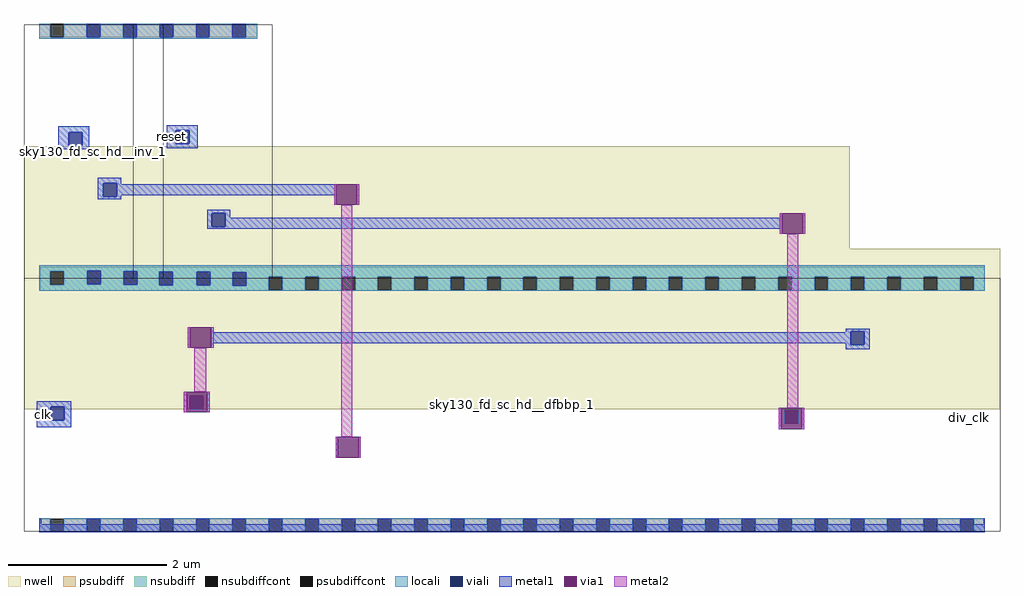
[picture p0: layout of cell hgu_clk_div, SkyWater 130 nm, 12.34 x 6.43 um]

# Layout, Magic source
magic
tech sky130A
magscale 1 2
<< nwell >>
rect -38 1266 2050 1525
rect -38 860 2430 1266
<< psubdiff >>
rect 0 1801 29 1835
rect 63 1801 121 1835
rect 155 1801 213 1835
rect 247 1801 305 1835
rect 339 1801 397 1835
rect 431 1801 489 1835
rect 523 1801 552 1835
rect 0 549 29 583
rect 63 549 121 583
rect 155 549 213 583
rect 247 549 305 583
rect 339 549 397 583
rect 431 549 489 583
rect 523 549 581 583
rect 615 549 673 583
rect 707 549 765 583
rect 799 549 857 583
rect 891 549 949 583
rect 983 549 1041 583
rect 1075 549 1133 583
rect 1167 549 1225 583
rect 1259 549 1317 583
rect 1351 549 1409 583
rect 1443 549 1501 583
rect 1535 549 1593 583
rect 1627 549 1685 583
rect 1719 549 1777 583
rect 1811 549 1869 583
rect 1903 549 1961 583
rect 1995 549 2053 583
rect 2087 549 2145 583
rect 2179 549 2237 583
rect 2271 549 2329 583
rect 2363 549 2392 583
<< nsubdiff >>
rect 3 1210 2392 1220
rect 3 1209 122 1210
rect 3 1175 29 1209
rect 63 1176 122 1209
rect 156 1209 2392 1210
rect 156 1176 214 1209
rect 63 1175 214 1176
rect 248 1208 2392 1209
rect 248 1175 304 1208
rect 3 1174 304 1175
rect 338 1174 399 1208
rect 433 1207 2392 1208
rect 433 1174 490 1207
rect 3 1173 490 1174
rect 524 1195 2392 1207
rect 524 1173 581 1195
rect 3 1161 581 1173
rect 615 1161 673 1195
rect 707 1161 765 1195
rect 799 1161 857 1195
rect 891 1161 949 1195
rect 983 1161 1041 1195
rect 1075 1161 1133 1195
rect 1167 1161 1225 1195
rect 1259 1161 1317 1195
rect 1351 1161 1409 1195
rect 1443 1161 1501 1195
rect 1535 1161 1593 1195
rect 1627 1161 1685 1195
rect 1719 1161 1777 1195
rect 1811 1161 1869 1195
rect 1903 1161 1961 1195
rect 1995 1161 2053 1195
rect 2087 1161 2145 1195
rect 2179 1161 2237 1195
rect 2271 1161 2329 1195
rect 2363 1161 2392 1195
rect 3 1160 2392 1161
<< psubdiffcont >>
rect 29 1801 63 1835
rect 121 1801 155 1835
rect 213 1801 247 1835
rect 305 1801 339 1835
rect 397 1801 431 1835
rect 489 1801 523 1835
rect 29 549 63 583
rect 121 549 155 583
rect 213 549 247 583
rect 305 549 339 583
rect 397 549 431 583
rect 489 549 523 583
rect 581 549 615 583
rect 673 549 707 583
rect 765 549 799 583
rect 857 549 891 583
rect 949 549 983 583
rect 1041 549 1075 583
rect 1133 549 1167 583
rect 1225 549 1259 583
rect 1317 549 1351 583
rect 1409 549 1443 583
rect 1501 549 1535 583
rect 1593 549 1627 583
rect 1685 549 1719 583
rect 1777 549 1811 583
rect 1869 549 1903 583
rect 1961 549 1995 583
rect 2053 549 2087 583
rect 2145 549 2179 583
rect 2237 549 2271 583
rect 2329 549 2363 583
<< nsubdiffcont >>
rect 29 1175 63 1209
rect 122 1176 156 1210
rect 214 1175 248 1209
rect 304 1174 338 1208
rect 399 1174 433 1208
rect 490 1173 524 1207
rect 581 1161 615 1195
rect 673 1161 707 1195
rect 765 1161 799 1195
rect 857 1161 891 1195
rect 949 1161 983 1195
rect 1041 1161 1075 1195
rect 1133 1161 1167 1195
rect 1225 1161 1259 1195
rect 1317 1161 1351 1195
rect 1409 1161 1443 1195
rect 1501 1161 1535 1195
rect 1593 1161 1627 1195
rect 1685 1161 1719 1195
rect 1777 1161 1811 1195
rect 1869 1161 1903 1195
rect 1961 1161 1995 1195
rect 2053 1161 2087 1195
rect 2145 1161 2179 1195
rect 2237 1161 2271 1195
rect 2329 1161 2363 1195
<< locali >>
rect 0 1801 29 1835
rect 63 1801 121 1835
rect 155 1801 213 1835
rect 247 1801 305 1835
rect 339 1801 397 1835
rect 431 1801 489 1835
rect 523 1801 552 1835
rect 0 1797 552 1801
rect 1 1210 2392 1224
rect 1 1209 122 1210
rect 1 1175 29 1209
rect 63 1176 122 1209
rect 156 1209 2392 1210
rect 156 1176 214 1209
rect 63 1175 214 1176
rect 248 1208 2392 1209
rect 248 1175 304 1208
rect 1 1174 304 1175
rect 338 1174 399 1208
rect 433 1207 2392 1208
rect 433 1174 490 1207
rect 1 1173 490 1174
rect 524 1195 2392 1207
rect 524 1173 581 1195
rect 1 1161 581 1173
rect 615 1161 673 1195
rect 707 1161 765 1195
rect 799 1161 857 1195
rect 891 1161 949 1195
rect 983 1161 1041 1195
rect 1075 1161 1133 1195
rect 1167 1161 1225 1195
rect 1259 1161 1317 1195
rect 1351 1161 1409 1195
rect 1443 1161 1501 1195
rect 1535 1161 1593 1195
rect 1627 1161 1685 1195
rect 1719 1161 1777 1195
rect 1811 1161 1869 1195
rect 1903 1161 1961 1195
rect 1995 1161 2053 1195
rect 2087 1161 2145 1195
rect 2179 1161 2237 1195
rect 2271 1161 2329 1195
rect 2363 1161 2392 1195
rect 1 1160 2392 1161
rect 0 549 29 584
rect 63 583 2392 584
rect 63 549 121 583
rect 155 549 213 583
rect 247 549 305 583
rect 339 549 397 583
rect 431 549 489 583
rect 523 549 581 583
rect 615 549 673 583
rect 707 549 765 583
rect 799 549 857 583
rect 891 549 949 583
rect 983 549 1041 583
rect 1075 549 1133 583
rect 1167 549 1225 583
rect 1259 549 1317 583
rect 1351 549 1409 583
rect 1443 549 1501 583
rect 1535 549 1593 583
rect 1627 549 1685 583
rect 1719 549 1777 583
rect 1811 549 1869 583
rect 1903 549 1961 583
rect 1995 549 2053 583
rect 2087 549 2145 583
rect 2179 549 2237 583
rect 2271 549 2329 583
rect 2363 549 2392 583
<< viali >>
rect 75 1527 109 1561
rect 346 1532 380 1566
rect 162 1398 196 1432
rect 437 1322 471 1356
rect 2053 1023 2087 1057
rect 30 832 64 866
rect 381 860 415 894
rect 1886 824 1920 858
<< metal1 >>
rect 121 1801 155 1835
rect 213 1801 247 1835
rect 305 1801 339 1835
rect 397 1801 431 1835
rect 489 1801 523 1835
rect 49 1561 127 1576
rect 49 1527 75 1561
rect 109 1527 127 1561
rect 49 1518 127 1527
rect 323 1566 401 1578
rect 323 1532 346 1566
rect 380 1532 401 1566
rect 323 1520 401 1532
rect 148 1432 208 1446
rect 148 1398 162 1432
rect 196 1429 208 1432
rect 196 1401 752 1429
rect 196 1398 208 1401
rect 148 1391 208 1398
rect 746 1377 752 1401
rect 804 1377 810 1429
rect 425 1356 484 1364
rect 425 1322 437 1356
rect 471 1344 484 1356
rect 1873 1344 1879 1356
rect 471 1322 1879 1344
rect 425 1316 1879 1322
rect 1873 1304 1879 1316
rect 1931 1304 1937 1356
rect 122 1176 156 1210
rect 214 1175 248 1209
rect 304 1174 338 1208
rect 399 1174 433 1208
rect 490 1173 524 1207
rect 376 1016 382 1068
rect 435 1055 442 1068
rect 2040 1057 2101 1064
rect 2040 1055 2053 1057
rect 435 1027 2053 1055
rect 435 1016 442 1027
rect 2040 1023 2053 1027
rect 2087 1023 2101 1057
rect 2040 1012 2101 1023
rect -6 866 82 880
rect -6 832 30 866
rect 64 832 82 866
rect 366 852 374 904
rect 426 852 432 904
rect 1871 863 1935 864
rect -6 815 82 832
rect 1871 810 1877 863
rect 1929 810 1935 863
rect 750 738 756 790
rect 808 738 814 790
rect 750 737 814 738
rect 0 569 5 583
rect 121 569 155 583
rect 213 569 247 583
rect 305 569 339 583
rect 397 569 431 583
rect 489 569 523 583
rect 581 569 615 583
rect 673 569 707 583
rect 765 569 799 583
rect 857 569 891 583
rect 949 569 983 583
rect 1041 569 1075 583
rect 1133 569 1167 583
rect 1225 569 1259 583
rect 1317 569 1351 583
rect 1409 569 1443 583
rect 1501 569 1535 583
rect 1593 569 1627 583
rect 1685 569 1719 583
rect 1777 569 1811 583
rect 1869 569 1903 583
rect 1961 569 1995 583
rect 2053 569 2087 583
rect 2145 569 2179 583
rect 2237 569 2271 583
rect 2329 569 2363 583
rect 2389 569 2392 583
rect 0 549 2392 569
<< via1 >>
rect 752 1377 804 1429
rect 1879 1304 1931 1356
rect 382 1016 435 1068
rect 374 894 426 904
rect 374 860 381 894
rect 381 860 415 894
rect 415 860 426 894
rect 374 852 426 860
rect 1877 858 1929 863
rect 1877 824 1886 858
rect 1886 824 1920 858
rect 1920 824 1929 858
rect 1877 810 1929 824
rect 756 738 808 790
<< metal2 >>
rect 746 1377 752 1429
rect 804 1377 810 1429
rect 376 1016 382 1068
rect 435 1016 442 1068
rect 392 904 423 1016
rect 366 852 374 904
rect 426 852 432 904
rect 764 790 792 1377
rect 1873 1304 1879 1356
rect 1931 1304 1937 1356
rect 1892 864 1920 1304
rect 1871 863 1935 864
rect 1871 810 1877 863
rect 1929 810 1935 863
rect 750 738 756 790
rect 808 738 814 790
rect 750 737 814 738
use sky130_fd_sc_hd__dfbbp_1  x2 $PDKPATH/libs.ref/sky130_fd_sc_hd/mag
transform 1 0 0 0 1 600
box -38 -48 2430 592
use sky130_fd_sc_hd__inv_1  x3 $PDKPATH/libs.ref/sky130_fd_sc_hd/mag
transform 1 0 0 0 -1 1784
box -38 -48 314 592
use sky130_fd_sc_hd__inv_1  x4
transform 1 0 276 0 -1 1784
box -38 -48 314 592
<< labels >>
flabel metal1 49 1518 75 1576 0 FreeSans 320 0 0 0 set
port 1 nsew
flabel metal1 323 1520 346 1578 0 FreeSans 320 0 0 0 reset
port 2 nsew
flabel metal1 -6 815 30 880 0 FreeSans 320 0 0 0 clk
port 3 nsew
flabel space 2332 729 2375 947 0 FreeSans 320 0 0 0 div_clk
port 5 nsew
<< end >>
